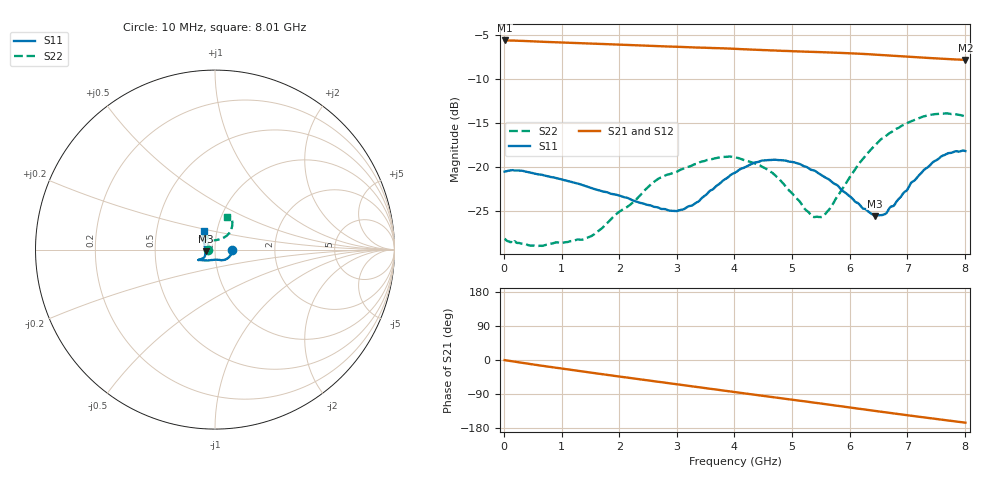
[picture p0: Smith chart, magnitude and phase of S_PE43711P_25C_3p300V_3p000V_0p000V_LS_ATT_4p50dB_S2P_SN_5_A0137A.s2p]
! Device ID: PE43711P
! File Path: z:\PE43711P\CHAR_NOM_04282014\AMB\3p300\LS_ATT_4p50dB\PE43711P_AMB_3p300V_3p000V_0p000V_LS_ATT_4p50dB_S2P_SN_5_A0137A.s2p
! Serial: 5
! Lot: A0137A
! Temp: 25C
! VDD: 3.300
! VSS: 0.000
! Control_Hi: 3.000
! Control_Lo: 0.000
! Attenuation Step: 4.50dB
! Port 1: RF1
! Port 2: RF2
! ThroughPath:1-2
! IDD: 0.0001277303
! ISS: -1.071e-007
#  Hz  S  RI  R  50
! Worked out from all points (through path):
!   801 points, 10 MHz to 8.01 GHz, reference 50 ohm
!   highest |S21| = -5.57 dB at 10 MHz (marker M1); lowest = -7.8 dB at 8.01 GHz (marker M2)
!   group delay of S21, straight-line fit = 57 ps
!   lowest |S11| = -25.5 dB at 6.44 GHz (marker M3), VSWR 1.11, Z = 45 - j0.766 ohm
!   |S11| at or under -10 dB: start of sweep to end of sweep
!   |S22| runs from -29.0 to -13.9 dB; largest |S21 - S12| = 0.001
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1e7  0.0942 -0.000355  0.5268 -0.00261  0.5269 -0.00267  -0.0391 0.00032
5.7e8  0.085 -0.0332  0.5057 -0.1186  0.5059 -0.1186  -0.0354 -0.00311
1.35e9  0.0559 -0.0562  0.4403 -0.2536  0.4407 -0.2538  -0.0377 0.00845
1.68e9  0.0441 -0.0584  0.4024 -0.3023  0.4028 -0.3024  -0.0378 0.0231
2.68e9  0.0154 -0.0568  0.2623 -0.412  0.2625 -0.4123  -0.0452 0.0731
2.98e9  0.000192 -0.0562  0.2153 -0.4346  0.2155 -0.4349  -0.052 0.0777
3.26e9  -0.0169 -0.0579  0.1693 -0.4505  0.1696 -0.4508  -0.0598 0.0827
3.68e9  -0.049 -0.0604  0.0994 -0.4657  0.0993 -0.466  -0.0764 0.0826
4.01e9  -0.072 -0.0588  0.0431 -0.4699  0.0429 -0.4703  -0.0863 0.074
4.34e9  -0.0886 -0.0577  -0.0119 -0.4666  -0.012 -0.4669  -0.0828 0.0652
4.66e9  -0.0936 -0.0579  -0.0641 -0.4579  -0.064 -0.458  -0.0718 0.0586
5.04e9  -0.0897 -0.0573  -0.1221 -0.4405  -0.1224 -0.4404  -0.0447 0.0521
5.35e9  -0.0804 -0.053  -0.1683 -0.4211  -0.1685 -0.4216  -0.0152 0.0502
5.58e9  -0.0715 -0.0497  -0.2012 -0.4037  -0.2012 -0.4036  0.00978 0.0533
6.15e9  -0.0549 -0.0294  -0.2748 -0.3475  -0.275 -0.3476  0.067 0.0787
6.44e9  -0.0521 -0.00847  -0.3056 -0.3129  -0.306 -0.3131  0.0861 0.1016
6.6e9  -0.0536 0.00508  -0.3205 -0.293  -0.3206 -0.2934  0.091 0.1163
6.68e9  -0.056 0.0138  -0.3277 -0.2829  -0.3277 -0.2833  0.0935 0.124
7.05e9  -0.0633 0.0485  -0.3554 -0.2334  -0.3551 -0.2336  0.0963 0.1539
7.45e9  -0.0687 0.082  -0.3766 -0.179  -0.3769 -0.1791  0.0864 0.18
7.7e9  -0.0697 0.0971  -0.3864 -0.145  -0.3863 -0.1447  0.0759 0.1875
8.01e9  -0.0626 0.1064  -0.3952 -0.1028  -0.3955 -0.1019  0.0666 0.1826
